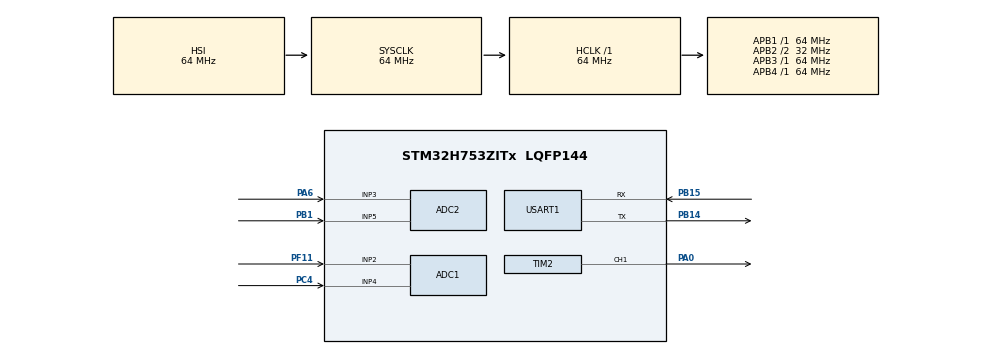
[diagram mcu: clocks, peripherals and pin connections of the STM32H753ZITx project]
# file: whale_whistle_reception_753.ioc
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ADC1.Channel-0\#ChannelRegularConversion=ADC_CHANNEL_2
ADC1.Channel-1\#ChannelRegularConversion=ADC_CHANNEL_4
ADC1.ClockPrescaler=ADC_CLOCK_ASYNC_DIV4
ADC1.ContinuousConvMode=DISABLE
ADC1.EOCSelection=ADC_EOC_SEQ_CONV
ADC1.ExternalTrigConv=ADC_EXTERNALTRIG_T2_TRGO
ADC1.NbrOfConversion=2
ADC1.NbrOfConversionFlag=1
ADC1.OffsetNumber-0\#ChannelRegularConversion=ADC_OFFSET_NONE
ADC1.OffsetNumber-1\#ChannelRegularConversion=ADC_OFFSET_NONE
ADC1.OffsetSignedSaturation-0\#ChannelRegularConversion=DISABLE
ADC1.OffsetSignedSaturation-1\#ChannelRegularConversion=DISABLE
ADC1.Rank-0\#ChannelRegularConversion=1
ADC1.Rank-1\#ChannelRegularConversion=2
ADC1.SamplingTime-0\#ChannelRegularConversion=ADC_SAMPLETIME_32CYCLES_5
ADC1.SamplingTime-1\#ChannelRegularConversion=ADC_SAMPLETIME_32CYCLES_5
ADC1.master=1
ADC2.Channel-0\#ChannelRegularConversion=ADC_CHANNEL_3
ADC2.Channel-1\#ChannelRegularConversion=ADC_CHANNEL_5
ADC2.ClockPrescaler=ADC_CLOCK_ASYNC_DIV4
ADC2.ContinuousConvMode=DISABLE
ADC2.EOCSelection=ADC_EOC_SEQ_CONV
ADC2.ExternalTrigConv=ADC_EXTERNALTRIG_T2_TRGO
ADC2.NbrOfConversion=2
ADC2.NbrOfConversionFlag=1
ADC2.OffsetNumber-0\#ChannelRegularConversion=ADC_OFFSET_NONE
ADC2.OffsetNumber-1\#ChannelRegularConversion=ADC_OFFSET_NONE
ADC2.OffsetSignedSaturation-0\#ChannelRegularConversion=DISABLE
ADC2.OffsetSignedSaturation-1\#ChannelRegularConversion=DISABLE
ADC2.Rank-0\#ChannelRegularConversion=1
ADC2.Rank-1\#ChannelRegularConversion=2
ADC2.SamplingTime-0\#ChannelRegularConversion=ADC_SAMPLETIME_32CYCLES_5
ADC2.SamplingTime-1\#ChannelRegularConversion=ADC_SAMPLETIME_32CYCLES_5
CORTEX_M7.default_mode_Activation=1
Dma.ADC1.2.Direction=DMA_PERIPH_TO_MEMORY
Dma.ADC1.2.EventEnable=DISABLE
Dma.ADC1.2.FIFOMode=DMA_FIFOMODE_DISABLE
Dma.ADC1.2.Instance=DMA1_Stream2
Dma.ADC1.2.MemDataAlignment=DMA_MDATAALIGN_HALFWORD
Dma.ADC1.2.MemInc=DMA_MINC_ENABLE
Dma.ADC1.2.Mode=DMA_CIRCULAR
Dma.ADC1.2.PeriphDataAlignment=DMA_PDATAALIGN_HALFWORD
Dma.ADC1.2.PeriphInc=DMA_PINC_DISABLE
Dma.ADC1.2.Polarity=HAL_DMAMUX_REQ_GEN_RISING
Dma.ADC1.2.Priority=DMA_PRIORITY_HIGH
Dma.ADC1.2.RequestNumber=1
Dma.ADC1.2.SignalID=NONE
Dma.ADC1.2.SyncEnable=DISABLE
Dma.ADC1.2.SyncPolarity=HAL_DMAMUX_SYNC_NO_EVENT
Dma.ADC1.2.SyncRequestNumber=1
Dma.ADC1.2.SyncSignalID=NONE
Dma.ADC2.3.Direction=DMA_PERIPH_TO_MEMORY
Dma.ADC2.3.EventEnable=DISABLE
Dma.ADC2.3.FIFOMode=DMA_FIFOMODE_DISABLE
Dma.ADC2.3.Instance=DMA1_Stream3
Dma.ADC2.3.MemDataAlignment=DMA_MDATAALIGN_HALFWORD
Dma.ADC2.3.MemInc=DMA_MINC_ENABLE
Dma.ADC2.3.Mode=DMA_CIRCULAR
Dma.ADC2.3.PeriphDataAlignment=DMA_PDATAALIGN_HALFWORD
Dma.ADC2.3.PeriphInc=DMA_PINC_DISABLE
Dma.ADC2.3.Polarity=HAL_DMAMUX_REQ_GEN_RISING
Dma.ADC2.3.Priority=DMA_PRIORITY_HIGH
Dma.ADC2.3.RequestNumber=1
Dma.ADC2.3.SignalID=NONE
Dma.ADC2.3.SyncEnable=DISABLE
Dma.ADC2.3.SyncPolarity=HAL_DMAMUX_SYNC_NO_EVENT
Dma.ADC2.3.SyncRequestNumber=1
Dma.ADC2.3.SyncSignalID=NONE
Dma.Request0=USART1_TX
Dma.Request1=USART1_RX
Dma.Request2=ADC1
Dma.Request3=ADC2
Dma.USART1_RX.1.Direction=DMA_PERIPH_TO_MEMORY
Dma.USART1_RX.1.EventEnable=DISABLE
Dma.USART1_RX.1.FIFOMode=DMA_FIFOMODE_DISABLE
Dma.USART1_RX.1.Instance=DMA1_Stream1
Dma.USART1_RX.1.MemDataAlignment=DMA_MDATAALIGN_BYTE
Dma.USART1_RX.1.MemInc=DMA_MINC_ENABLE
Dma.USART1_RX.1.Mode=DMA_CIRCULAR
Dma.USART1_RX.1.PeriphDataAlignment=DMA_PDATAALIGN_BYTE
Dma.USART1_RX.1.PeriphInc=DMA_PINC_DISABLE
Dma.USART1_RX.1.Polarity=HAL_DMAMUX_REQ_GEN_RISING
Dma.USART1_RX.1.Priority=DMA_PRIORITY_HIGH
Dma.USART1_RX.1.RequestNumber=1
Dma.USART1_RX.1.SignalID=NONE
Dma.USART1_RX.1.SyncEnable=DISABLE
Dma.USART1_RX.1.SyncPolarity=HAL_DMAMUX_SYNC_NO_EVENT
Dma.USART1_RX.1.SyncRequestNumber=1
Dma.USART1_RX.1.SyncSignalID=NONE
Dma.USART1_TX.0.Direction=DMA_MEMORY_TO_PERIPH
Dma.USART1_TX.0.EventEnable=DISABLE
Dma.USART1_TX.0.FIFOMode=DMA_FIFOMODE_DISABLE
Dma.USART1_TX.0.Instance=DMA1_Stream0
Dma.USART1_TX.0.MemDataAlignment=DMA_MDATAALIGN_BYTE
Dma.USART1_TX.0.MemInc=DMA_MINC_ENABLE
Dma.USART1_TX.0.Mode=DMA_CIRCULAR
Dma.USART1_TX.0.PeriphDataAlignment=DMA_PDATAALIGN_BYTE
Dma.USART1_TX.0.PeriphInc=DMA_PINC_DISABLE
Dma.USART1_TX.0.Polarity=HAL_DMAMUX_REQ_GEN_RISING
Dma.USART1_TX.0.Priority=DMA_PRIORITY_HIGH
Dma.USART1_TX.0.RequestNumber=1
Dma.USART1_TX.0.SignalID=NONE
Dma.USART1_TX.0.SyncEnable=DISABLE
Dma.USART1_TX.0.SyncPolarity=HAL_DMAMUX_SYNC_NO_EVENT
Dma.USART1_TX.0.SyncRequestNumber=1
Dma.USART1_TX.0.SyncSignalID=NONE
Mcu.Family=STM32H7
Mcu.Name=STM32H753ZITx
Mcu.Package=LQFP144
Mcu.UserConstants=USART_BAUD_RATE,115200;ADC_SAMPLING_TIME,ADC_SAMPLETIME_15CYCLES;TIM2_PRESCALER,20;TIM2_COUNTER_PERIOD,99;SAMPLING_RATE,48000
NVIC.DMA1_Stream0_IRQn=true\:0\:0\:false\:false\:true\:false\:true\:true
NVIC.DMA1_Stream1_IRQn=true\:0\:0\:false\:false\:true\:false\:true\:true
NVIC.DMA1_Stream2_IRQn=true\:0\:0\:false\:false\:true\:false\:true\:true
NVIC.DMA1_Stream3_IRQn=true\:0\:0\:false\:false\:true\:false\:true\:true
NVIC.PriorityGroup=NVIC_PRIORITYGROUP_4
PA0.Signal=S_TIM2_CH1_ETR
PA6.Signal=ADCx_INP3
PB1.Signal=ADCx_INP5
PB14.GPIO_Speed=GPIO_SPEED_FREQ_HIGH
PB14.Mode=Asynchronous
PB14.Signal=USART1_TX
PB15.GPIO_Speed=GPIO_SPEED_FREQ_HIGH
PB15.Mode=Asynchronous
PB15.Signal=USART1_RX
PC4.Signal=ADCx_INP4
PF11.Mode=IN2-Single-Ended
PF11.Signal=ADC1_INP2
ProjectManager.HeapSize=0x200
ProjectManager.StackSize=0x400
ProjectManager.TargetToolchain=STM32CubeIDE
RCC.ADCFreq_Value=80000000
RCC.APB1Freq_Value=64000000
RCC.APB2Freq_Value=32000000
RCC.APB3Freq_Value=64000000
RCC.APB4Freq_Value=64000000
RCC.CortexFreq_Value=64000000
RCC.D2PPRE2=RCC_APB2_DIV2
RCC.DIVM2=4
RCC.DIVN2=10
RCC.HCLKFreq_Value=64000000
RCC.PLL2FRACN=0
RCC.SYSCLKFreq_VALUE=64000000
RCC.USBFreq_Value=129000000
SH.ADCx_INP3.0=ADC2_INP3,IN3-Single-Ended
SH.ADCx_INP4.0=ADC1_INP4,IN4-Single-Ended
SH.ADCx_INP5.0=ADC2_INP5,IN5-Single-Ended
SH.S_TIM2_CH1_ETR.0=TIM2_CH1,Output Compare1 CH1
TIM2.Channel-Output\ Compare1\ CH1=TIM_CHANNEL_1
TIM2.Period=99
TIM2.Prescaler=20
TIM2.TIM_MasterOutputTrigger=TIM_TRGO_UPDATE
USART1.FIFOMode=FIFOMODE_ENABLE
USART1.VirtualMode-Asynchronous=VM_ASYNC
VP_MEMORYMAP_VS_MEMORYMAP.Mode=CurAppReg
VP_TIM2_VS_ClockSourceINT.Mode=Internal
board=custom

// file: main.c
/* USER CODE BEGIN Header */
/**
  ******************************************************************************
  * @file           : main.c
  * @brief          : Main program body
  ******************************************************************************
  * @attention
  *
  * Copyright (c) 2024 STMicroelectronics.
  * All rights reserved.
  *
  * This software is licensed under terms that can be found in the LICENSE file
  * in the root directory of this software component.
  * If no LICENSE file comes with this software, it is provided AS-IS.
  *
  ******************************************************************************
  */
/* USER CODE END Header */
#include "main.h"
#include <stdio.h>
#include "arm_math.h"

ADC_HandleTypeDef hadc1;
ADC_HandleTypeDef hadc2;
DMA_HandleTypeDef hdma_adc1;
DMA_HandleTypeDef hdma_adc2;

TIM_HandleTypeDef htim2;

UART_HandleTypeDef huart1;
DMA_HandleTypeDef hdma_usart1_tx;
DMA_HandleTypeDef hdma_usart1_rx;

/* USER CODE BEGIN PV */
#define BUFFER_SIZE 1024  // Define a suitable buffer size for DMA transfers
#define SAMPLE_RATE 48000  // Sample rate of the microphones
#define MIC_SPACING 0.03   // Distance between microphones in meters (3 cm)
#define SPEED_OF_SOUND 343.0  // Speed of sound in m/s

uint32_t adc1Buffer[BUFFER_SIZE]; // Buffer for ADC1 data
uint32_t adc2Buffer[BUFFER_SIZE]; // Buffer for ADC2 data
float32_t mic1_signal[BUFFER_SIZE];
float32_t mic2_signal[BUFFER_SIZE];
float32_t mic3_signal[BUFFER_SIZE];
float32_t mic4_signal[BUFFER_SIZE];
float32_t mic1_fft[BUFFER_SIZE];
float32_t mic2_fft[BUFFER_SIZE];
float32_t mic3_fft[BUFFER_SIZE];
float32_t mic4_fft[BUFFER_SIZE];
float32_t cross_corr12[2 * BUFFER_SIZE - 1];  // Cross-correlation buffers
float32_t cross_corr13[2 * BUFFER_SIZE - 1];
float32_t cross_corr14[2 * BUFFER_SIZE - 1];
float32_t cross_corr23[2 * BUFFER_SIZE - 1];
float32_t cross_corr24[2 * BUFFER_SIZE - 1];
float32_t cross_corr34[2 * BUFFER_SIZE - 1];

/* USER CODE END PV */

void SystemClock_Config(void);
void PeriphCommonClock_Config(void);
static void MPU_Config(void);
static void MX_GPIO_Init(void);
static void MX_DMA_Init(void);
static void MX_ADC1_Init(void);
static void MX_ADC2_Init(void);
static void MX_USART1_UART_Init(void);
static void MX_TIM2_Init(void);

/* USER CODE BEGIN 0 */
void Process_ADC1_Data(void);
void Process_ADC2_Data(void);
/* USER CODE END 0 */

int main(void)
{

  /* MPU Configuration--------------------------------------------------------*/
  MPU_Config();

  /* MCU Configuration--------------------------------------------------------*/

  /* Reset of all peripherals, Initializes the Flash interface and the Systick. */
  HAL_Init();

  /* Configure the system clock */
  SystemClock_Config();

  /* Configure the peripherals common clocks */
  PeriphCommonClock_Config();

  /* Initialize all configured peripherals */
  MX_GPIO_Init();
  MX_DMA_Init();
  MX_ADC1_Init();
  MX_ADC2_Init();
  MX_USART1_UART_Init();
  MX_TIM2_Init();
  /* USER CODE BEGIN 2 */
  HAL_ADC_Start_DMA(&hadc1, (uint32_t*)adc1Buffer, BUFFER_SIZE);
  HAL_ADC_Start_DMA(&hadc2, (uint32_t*)adc2Buffer, BUFFER_SIZE);
  /* USER CODE END 2 */

  /* Infinite loop */
  while (1)
  {
	  printf("ADC1 Buffer: %lu, %lu\r\n", adc1Buffer[0], adc1Buffer[1]);
	  printf("ADC2 Buffer: %lu, %lu\r\n", adc2Buffer[0], adc2Buffer[1]);
	  HAL_Delay(1000);  // Delay of 1 second
  }
}

void SystemClock_Config(void)
{
  RCC_OscInitTypeDef RCC_OscInitStruct = {0};
  RCC_ClkInitTypeDef RCC_ClkInitStruct = {0};

  /** Supply configuration update enable
  */
  HAL_PWREx_ConfigSupply(PWR_LDO_SUPPLY);

  /** Configure the main internal regulator output voltage
  */
  __HAL_PWR_VOLTAGESCALING_CONFIG(PWR_REGULATOR_VOLTAGE_SCALE3);

  while(!__HAL_PWR_GET_FLAG(PWR_FLAG_VOSRDY)) {}

  /** Macro to configure the PLL clock source
  */
  __HAL_RCC_PLL_PLLSOURCE_CONFIG(RCC_PLLSOURCE_HSI);

  /** Initializes the RCC Oscillators according to the specified parameters
  * in the RCC_OscInitTypeDef structure.
  */
  RCC_OscInitStruct.OscillatorType = RCC_OSCILLATORTYPE_HSI;
  RCC_OscInitStruct.HSIState = RCC_HSI_DIV1;
  RCC_OscInitStruct.HSICalibrationValue = RCC_HSICALIBRATION_DEFAULT;
  RCC_OscInitStruct.PLL.PLLState = RCC_PLL_NONE;
  if (HAL_RCC_OscConfig(&RCC_OscInitStruct) != HAL_OK)
  {
    Error_Handler();
  }

  /** Initializes the CPU, AHB and APB buses clocks
  */
  RCC_ClkInitStruct.ClockType = RCC_CLOCKTYPE_HCLK|RCC_CLOCKTYPE_SYSCLK
                              |RCC_CLOCKTYPE_PCLK1|RCC_CLOCKTYPE_PCLK2
                              |RCC_CLOCKTYPE_D3PCLK1|RCC_CLOCKTYPE_D1PCLK1;
  RCC_ClkInitStruct.SYSCLKSource = RCC_SYSCLKSOURCE_HSI;
  RCC_ClkInitStruct.SYSCLKDivider = RCC_SYSCLK_DIV1;
  RCC_ClkInitStruct.AHBCLKDivider = RCC_HCLK_DIV1;
  RCC_ClkInitStruct.APB3CLKDivider = RCC_APB3_DIV1;
  RCC_ClkInitStruct.APB1CLKDivider = RCC_APB1_DIV1;
  RCC_ClkInitStruct.APB2CLKDivider = RCC_APB2_DIV2;
  RCC_ClkInitStruct.APB4CLKDivider = RCC_APB4_DIV1;

  if (HAL_RCC_ClockConfig(&RCC_ClkInitStruct, FLASH_LATENCY_1) != HAL_OK)
  {
    Error_Handler();
  }
}

void PeriphCommonClock_Config(void)
{
  RCC_PeriphCLKInitTypeDef PeriphClkInitStruct = {0};

  /** Initializes the peripherals clock
  */
  PeriphClkInitStruct.PeriphClockSelection = RCC_PERIPHCLK_ADC;
  PeriphClkInitStruct.PLL2.PLL2M = 4;
  PeriphClkInitStruct.PLL2.PLL2N = 10;
  PeriphClkInitStruct.PLL2.PLL2P = 2;
  PeriphClkInitStruct.PLL2.PLL2Q = 2;
  PeriphClkInitStruct.PLL2.PLL2R = 2;
  PeriphClkInitStruct.PLL2.PLL2RGE = RCC_PLL2VCIRANGE_3;
  PeriphClkInitStruct.PLL2.PLL2VCOSEL = RCC_PLL2VCOMEDIUM;
  PeriphClkInitStruct.PLL2.PLL2FRACN = 0;
  PeriphClkInitStruct.AdcClockSelection = RCC_ADCCLKSOURCE_PLL2;
  if (HAL_RCCEx_PeriphCLKConfig(&PeriphClkInitStruct) != HAL_OK)
  {
    Error_Handler();
  }
}

static void MX_ADC1_Init(void)
{

  ADC_MultiModeTypeDef multimode = {0};
  ADC_ChannelConfTypeDef sConfig = {0};

  /** Common config
  */
  hadc1.Instance = ADC1;
  hadc1.Init.ScanConvMode = ADC_SCAN_ENABLE;
  hadc1.Init.EOCSelection = ADC_EOC_SEQ_CONV;
  hadc1.Init.LowPowerAutoWait = DISABLE;
  hadc1.Init.ContinuousConvMode = DISABLE;
  hadc1.Init.NbrOfConversion = 2;
  hadc1.Init.DiscontinuousConvMode = DISABLE;
  hadc1.Init.ExternalTrigConv = ADC_EXTERNALTRIG_T2_TRGO;
  hadc1.Init.ExternalTrigConvEdge = ADC_EXTERNALTRIGCONVEDGE_RISING;
  hadc1.Init.ConversionDataManagement = ADC_CONVERSIONDATA_DR;
  hadc1.Init.Overrun = ADC_OVR_DATA_PRESERVED;
  hadc1.Init.LeftBitShift = ADC_LEFTBITSHIFT_NONE;
  hadc1.Init.OversamplingMode = DISABLE;
  hadc1.Init.Oversampling.Ratio = 1;
  if (HAL_ADC_Init(&hadc1) != HAL_OK)
  {
    Error_Handler();
  }
  hadc1.Init.ClockPrescaler = ADC_CLOCK_ASYNC_DIV4;
  hadc1.Init.Resolution = ADC_RESOLUTION_16B;
  if (HAL_ADC_Init(&hadc1) != HAL_OK)
  {
    Error_Handler();
  }

  /** Configure the ADC multi-mode
  */
  multimode.Mode = ADC_MODE_INDEPENDENT;
  if (HAL_ADCEx_MultiModeConfigChannel(&hadc1, &multimode) != HAL_OK)
  {
    Error_Handler();
  }

  /** Configure Regular Channel
  */
  sConfig.Channel = ADC_CHANNEL_2;
  sConfig.Rank = ADC_REGULAR_RANK_1;
  sConfig.SamplingTime = ADC_SAMPLETIME_32CYCLES_5;
  sConfig.SingleDiff = ADC_SINGLE_ENDED;
  sConfig.OffsetNumber = ADC_OFFSET_NONE;
  sConfig.Offset = 0;
  sConfig.OffsetSignedSaturation = DISABLE;
  if (HAL_ADC_ConfigChannel(&hadc1, &sConfig) != HAL_OK)
  {
    Error_Handler();
  }

  /** Configure Regular Channel
  */
  sConfig.Channel = ADC_CHANNEL_4;
  sConfig.Rank = ADC_REGULAR_RANK_2;
  if (HAL_ADC_ConfigChannel(&hadc1, &sConfig) != HAL_OK)
  {
    Error_Handler();
  }

}

static void MX_ADC2_Init(void)
{

  ADC_ChannelConfTypeDef sConfig = {0};

  /** Common config
  */
  hadc2.Instance = ADC2;
  hadc2.Init.ScanConvMode = ADC_SCAN_ENABLE;
  hadc2.Init.EOCSelection = ADC_EOC_SEQ_CONV;
  hadc2.Init.LowPowerAutoWait = DISABLE;
  hadc2.Init.ContinuousConvMode = DISABLE;
  hadc2.Init.NbrOfConversion = 2;
  hadc2.Init.DiscontinuousConvMode = DISABLE;
  hadc2.Init.ExternalTrigConv = ADC_EXTERNALTRIG_T2_TRGO;
  hadc2.Init.ExternalTrigConvEdge = ADC_EXTERNALTRIGCONVEDGE_RISING;
  hadc2.Init.ConversionDataManagement = ADC_CONVERSIONDATA_DR;
  hadc2.Init.Overrun = ADC_OVR_DATA_PRESERVED;
  hadc2.Init.LeftBitShift = ADC_LEFTBITSHIFT_NONE;
  hadc2.Init.OversamplingMode = DISABLE;
  hadc2.Init.Oversampling.Ratio = 1;
  if (HAL_ADC_Init(&hadc2) != HAL_OK)
  {
    Error_Handler();
  }
  hadc2.Init.ClockPrescaler = ADC_CLOCK_ASYNC_DIV4;
  hadc2.Init.Resolution = ADC_RESOLUTION_16B;
  if (HAL_ADC_Init(&hadc2) != HAL_OK)
  {
    Error_Handler();
  }

  /** Configure Regular Channel
  */
  sConfig.Channel = ADC_CHANNEL_3;
  sConfig.Rank = ADC_REGULAR_RANK_1;
  sConfig.SamplingTime = ADC_SAMPLETIME_32CYCLES_5;
  sConfig.SingleDiff = ADC_SINGLE_ENDED;
  sConfig.OffsetNumber = ADC_OFFSET_NONE;
  sConfig.Offset = 0;
  sConfig.OffsetSignedSaturation = DISABLE;
  if (HAL_ADC_ConfigChannel(&hadc2, &sConfig) != HAL_OK)
  {
    Error_Handler();
  }

  /** Configure Regular Channel
  */
  sConfig.Channel = ADC_CHANNEL_5;
  sConfig.Rank = ADC_REGULAR_RANK_2;
  if (HAL_ADC_ConfigChannel(&hadc2, &sConfig) != HAL_OK)
  {
    Error_Handler();
  }

}

static void MX_TIM2_Init(void)
{

  TIM_ClockConfigTypeDef sClockSourceConfig = {0};
  TIM_MasterConfigTypeDef sMasterConfig = {0};
  TIM_OC_InitTypeDef sConfigOC = {0};

  htim2.Instance = TIM2;
  htim2.Init.Prescaler = 20;
  htim2.Init.CounterMode = TIM_COUNTERMODE_UP;
  htim2.Init.Period = 99;
  htim2.Init.ClockDivision = TIM_CLOCKDIVISION_DIV1;
  htim2.Init.AutoReloadPreload = TIM_AUTORELOAD_PRELOAD_DISABLE;
  if (HAL_TIM_Base_Init(&htim2) != HAL_OK)
  {
    Error_Handler();
  }
  sClockSourceConfig.ClockSource = TIM_CLOCKSOURCE_INTERNAL;
  if (HAL_TIM_ConfigClockSource(&htim2, &sClockSourceConfig) != HAL_OK)
  {
    Error_Handler();
  }
  if (HAL_TIM_OC_Init(&htim2) != HAL_OK)
  {
    Error_Handler();
  }
  sMasterConfig.MasterOutputTrigger = TIM_TRGO_UPDATE;
  sMasterConfig.MasterSlaveMode = TIM_MASTERSLAVEMODE_DISABLE;
  if (HAL_TIMEx_MasterConfigSynchronization(&htim2, &sMasterConfig) != HAL_OK)
  {
    Error_Handler();
  }
  sConfigOC.OCMode = TIM_OCMODE_TIMING;
  sConfigOC.Pulse = 0;
  sConfigOC.OCPolarity = TIM_OCPOLARITY_HIGH;
  sConfigOC.OCFastMode = TIM_OCFAST_DISABLE;
  if (HAL_TIM_OC_ConfigChannel(&htim2, &sConfigOC, TIM_CHANNEL_1) != HAL_OK)
  {
    Error_Handler();
  }
  HAL_TIM_MspPostInit(&htim2);

}

static void MX_USART1_UART_Init(void)
{

  huart1.Instance = USART1;
  huart1.Init.BaudRate = 115200;
  huart1.Init.WordLength = UART_WORDLENGTH_8B;
  huart1.Init.StopBits = UART_STOPBITS_1;
  huart1.Init.Parity = UART_PARITY_NONE;
  huart1.Init.Mode = UART_MODE_TX_RX;
  huart1.Init.HwFlowCtl = UART_HWCONTROL_NONE;
  huart1.Init.OverSampling = UART_OVERSAMPLING_16;
  huart1.Init.OneBitSampling = UART_ONE_BIT_SAMPLE_DISABLE;
  huart1.Init.ClockPrescaler = UART_PRESCALER_DIV1;
  huart1.AdvancedInit.AdvFeatureInit = UART_ADVFEATURE_NO_INIT;
  if (HAL_UART_Init(&huart1) != HAL_OK)
  {
    Error_Handler();
  }
  if (HAL_UARTEx_SetTxFifoThreshold(&huart1, UART_TXFIFO_THRESHOLD_1_8) != HAL_OK)
  {
    Error_Handler();
  }
  if (HAL_UARTEx_SetRxFifoThreshold(&huart1, UART_RXFIFO_THRESHOLD_1_8) != HAL_OK)
  {
    Error_Handler();
  }
  if (HAL_UARTEx_EnableFifoMode(&huart1) != HAL_OK)
  {
    Error_Handler();
  }

}

static void MX_DMA_Init(void)
{

  /* DMA controller clock enable */
  __HAL_RCC_DMA1_CLK_ENABLE();

  /* DMA interrupt init */
  /* DMA1_Stream0_IRQn interrupt configuration */
  HAL_NVIC_SetPriority(DMA1_Stream0_IRQn, 0, 0);
  HAL_NVIC_EnableIRQ(DMA1_Stream0_IRQn);
  /* DMA1_Stream1_IRQn interrupt configuration */
  HAL_NVIC_SetPriority(DMA1_Stream1_IRQn, 0, 0);
  HAL_NVIC_EnableIRQ(DMA1_Stream1_IRQn);
  /* DMA1_Stream2_IRQn interrupt configuration */
  HAL_NVIC_SetPriority(DMA1_Stream2_IRQn, 0, 0);
  HAL_NVIC_EnableIRQ(DMA1_Stream2_IRQn);
  /* DMA1_Stream3_IRQn interrupt configuration */
  HAL_NVIC_SetPriority(DMA1_Stream3_IRQn, 0, 0);
  HAL_NVIC_EnableIRQ(DMA1_Stream3_IRQn);

}

static void MX_GPIO_Init(void)
{

  /* GPIO Ports Clock Enable */
  __HAL_RCC_GPIOA_CLK_ENABLE();
  __HAL_RCC_GPIOC_CLK_ENABLE();
  __HAL_RCC_GPIOB_CLK_ENABLE();
  __HAL_RCC_GPIOF_CLK_ENABLE();

}

/* USER CODE BEGIN 4 */
int __io_putchar(int ch)
{
    HAL_UART_Transmit(&huart1, (uint8_t *)&ch, 1, HAL_MAX_DELAY);
    return ch;
}

/**
  * @brief  ADC conversion complete callback in non-blocking mode
  * @param  hadc ADC handle
  * @retval None
  */
void HAL_ADC_ConvCpltCallback(ADC_HandleTypeDef* hadc)
{
    if (hadc->Instance == ADC1)
    {
    	printf("ADC1 Conversion Complete!\r\n");
    	Process_ADC1_Data(); // Call your processing function for ADC1 data
    }
    else if (hadc->Instance == ADC2)
    {
    	printf("ADC2 Conversion Complete!\r\n");
    	Process_ADC2_Data(); // Call your processing function for ADC2 data
    }
}
void Process_ADC1_Data()
{
	// Example: Process the data in adc1Buffer from ADC1
	    for (int i = 0; i < BUFFER_SIZE; i++) {
	        mic1_signal[i] = (float32_t)adc1Buffer[i];  // Channel 2 data (Microphone 1)
	        mic2_signal[i] = (float32_t)adc1Buffer[i + 1];  // Channel 4 data (Microphone 2)
	    }

	    // Perform FFT on mic1 and mic2 signals
	    arm_cfft_f32(&arm_cfft_sR_f32_len1024, mic1_signal, 0, 1);
	    arm_cfft_f32(&arm_cfft_sR_f32_len1024, mic2_signal, 0, 1);

	    // Perform cross-correlation between mic1 and mic2 signals
	    arm_correlate_f32(mic1_signal, BUFFER_SIZE, mic2_signal, BUFFER_SIZE, cross_corr12);

	    // Print microphone data to serial terminal for verification
	    printf("ADC1 - Mic1: %lu, Mic2: %lu\r\n", adc1Buffer[0], adc1Buffer[1]);
	    // You can now calculate TDOA for mic1 and mic2 using cross_corr12
	    Calculate_AOA();
}

void Process_ADC2_Data()
{
	 // Example: Process the data in adc2Buffer from ADC2
	    for (int i = 0; i < BUFFER_SIZE; i++) {
	        mic3_signal[i] = (float32_t)adc2Buffer[i];  // Channel 3 data (Microphone 3)
	        mic4_signal[i] = (float32_t)adc2Buffer[i + 1];  // Channel 5 data (Microphone 4)
	    }

	    // Perform FFT on mic3 and mic4 signals
	    arm_cfft_f32(&arm_cfft_sR_f32_len1024, mic3_signal, 0, 1);
	    arm_cfft_f32(&arm_cfft_sR_f32_len1024, mic4_signal, 0, 1);

	    // Perform cross-correlation between mic3 and mic4 signals
	    arm_correlate_f32(mic3_signal, BUFFER_SIZE, mic4_signal, BUFFER_SIZE, cross_corr34);

	    // Print microphone data to serial terminal for verification
	    printf("ADC2 - Mic3: %lu, Mic4: %lu\r\n", adc2Buffer[0], adc2Buffer[1]);
	    // You can now calculate TDOA for mic3 and mic4 using cross_corr34
	    Calculate_AOA();
}

void Calculate_AOA(void)
{
    float32_t tdoa12, tdoa13, tdoa14, tdoa23, tdoa24, tdoa34;
    float32_t angles[6];

    // Calculate TDOA from cross-correlation results
    tdoa12 = Find_Max_Time_Difference(cross_corr12, BUFFER_SIZE);
    tdoa13 = Find_Max_Time_Difference(cross_corr13, BUFFER_SIZE);
    tdoa14 = Find_Max_Time_Difference(cross_corr14, BUFFER_SIZE);
    tdoa23 = Find_Max_Time_Difference(cross_corr23, BUFFER_SIZE);
    tdoa24 = Find_Max_Time_Difference(cross_corr24, BUFFER_SIZE);
    tdoa34 = Find_Max_Time_Difference(cross_corr34, BUFFER_SIZE);

    // Calculate angles between each microphone pair
    angles[0] = acosf((SPEED_OF_SOUND * tdoa12) / MIC_SPACING) * 180.0f / M_PI;
    angles[1] = acosf((SPEED_OF_SOUND * tdoa13) / MIC_SPACING) * 180.0f / M_PI;
    angles[2] = acosf((SPEED_OF_SOUND * tdoa14) / MIC_SPACING) * 180.0f / M_PI;
    angles[3] = acosf((SPEED_OF_SOUND * tdoa23) / MIC_SPACING) * 180.0f / M_PI;
    angles[4] = acosf((SPEED_OF_SOUND * tdoa24) / MIC_SPACING) * 180.0f / M_PI;
    angles[5] = acosf((SPEED_OF_SOUND * tdoa34) / MIC_SPACING) * 180.0f / M_PI;

    // Calculate average AOA
    float32_t avg_AOA = 0.0f;
    for (int i = 0; i < 6; i++)
    {
        avg_AOA += angles[i];
    }
    avg_AOA /= 6;

    // Print out the calculated AOA
    printf("Calculated AOA: %f degrees\r\n", avg_AOA);
}

float32_t Find_Max_Time_Difference(float32_t *cross_corr, uint32_t len)
{
    uint32_t maxIndex = 0;
    float32_t maxValue = 0;

    // Find the maximum value in the cross-correlation data
    arm_max_f32(cross_corr, len, &maxValue, &maxIndex);

    // Calculate time difference based on max index
    float32_t time_delay = ((float32_t)maxIndex - (len / 2)) / SAMPLE_RATE;

    return time_delay;
}

/* USER CODE END 4 */

 /* MPU Configuration */

void MPU_Config(void)
{
  MPU_Region_InitTypeDef MPU_InitStruct = {0};

  /* Disables the MPU */
  HAL_MPU_Disable();

  /** Initializes and configures the Region and the memory to be protected
  */
  MPU_InitStruct.Enable = MPU_REGION_ENABLE;
  MPU_InitStruct.Number = MPU_REGION_NUMBER0;
  MPU_InitStruct.BaseAddress = 0x0;
  MPU_InitStruct.Size = MPU_REGION_SIZE_4GB;
  MPU_InitStruct.SubRegionDisable = 0x87;
  MPU_InitStruct.TypeExtField = MPU_TEX_LEVEL0;
  MPU_InitStruct.AccessPermission = MPU_REGION_NO_ACCESS;
  MPU_InitStruct.DisableExec = MPU_INSTRUCTION_ACCESS_DISABLE;
  MPU_InitStruct.IsShareable = MPU_ACCESS_SHAREABLE;
  MPU_InitStruct.IsCacheable = MPU_ACCESS_NOT_CACHEABLE;
  MPU_InitStruct.IsBufferable = MPU_ACCESS_NOT_BUFFERABLE;

  HAL_MPU_ConfigRegion(&MPU_InitStruct);
  /* Enables the MPU */
  HAL_MPU_Enable(MPU_PRIVILEGED_DEFAULT);

}

void Error_Handler(void)
{
  __disable_irq();
  while (1)
  {
  }
}
